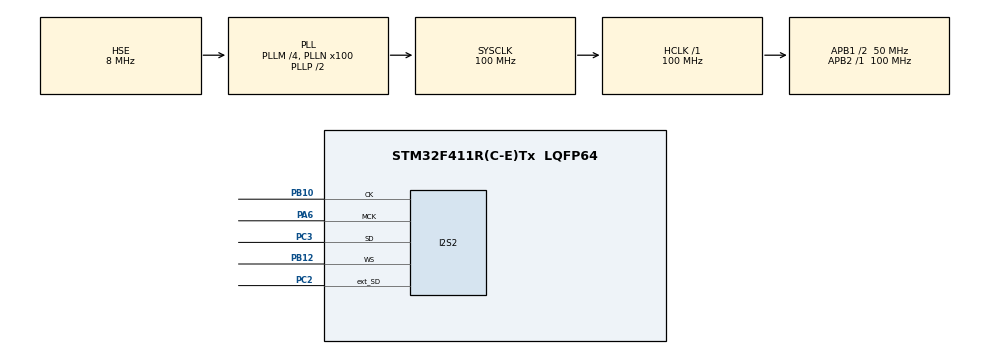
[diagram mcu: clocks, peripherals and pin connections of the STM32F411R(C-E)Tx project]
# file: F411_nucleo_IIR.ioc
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Dma.I2S2_EXT_RX.0.Direction=DMA_PERIPH_TO_MEMORY
Dma.I2S2_EXT_RX.0.FIFOMode=DMA_FIFOMODE_DISABLE
Dma.I2S2_EXT_RX.0.Instance=DMA1_Stream3
Dma.I2S2_EXT_RX.0.MemDataAlignment=DMA_MDATAALIGN_HALFWORD
Dma.I2S2_EXT_RX.0.MemInc=DMA_MINC_ENABLE
Dma.I2S2_EXT_RX.0.Mode=DMA_CIRCULAR
Dma.I2S2_EXT_RX.0.PeriphDataAlignment=DMA_PDATAALIGN_HALFWORD
Dma.I2S2_EXT_RX.0.PeriphInc=DMA_PINC_DISABLE
Dma.I2S2_EXT_RX.0.Priority=DMA_PRIORITY_LOW
Dma.Request0=I2S2_EXT_RX
Dma.Request1=SPI2_TX
Dma.SPI2_TX.1.Direction=DMA_MEMORY_TO_PERIPH
Dma.SPI2_TX.1.FIFOMode=DMA_FIFOMODE_DISABLE
Dma.SPI2_TX.1.Instance=DMA1_Stream4
Dma.SPI2_TX.1.MemDataAlignment=DMA_MDATAALIGN_HALFWORD
Dma.SPI2_TX.1.MemInc=DMA_MINC_ENABLE
Dma.SPI2_TX.1.Mode=DMA_CIRCULAR
Dma.SPI2_TX.1.PeriphDataAlignment=DMA_PDATAALIGN_HALFWORD
Dma.SPI2_TX.1.PeriphInc=DMA_PINC_DISABLE
Dma.SPI2_TX.1.Priority=DMA_PRIORITY_LOW
I2S2.AudioFreq=I2S_AUDIOFREQ_96K
I2S2.DataFormat=I2S_DATAFORMAT_24B
I2S2.ErrorAudioFreq=-2.34 %
I2S2.FullDuplexMode=I2S_FULLDUPLEXMODE_ENABLE
I2S2.Instance=SPI$Index
I2S2.RealAudioFreq=93.75 KHz
I2S2.VirtualMode=I2S_MODE_MASTER
Mcu.Family=STM32F4
Mcu.Name=STM32F411R(C-E)Tx
Mcu.Package=LQFP64
NVIC.DMA1_Stream3_IRQn=true\:0\:0\:false\:false\:true\:false\:true
NVIC.DMA1_Stream4_IRQn=true\:0\:0\:false\:false\:true\:false\:true
NVIC.PriorityGroup=NVIC_PRIORITYGROUP_0
PA6.GPIO_PuPd=GPIO_NOPULL
PA6.GPIO_Speed=GPIO_SPEED_FREQ_VERY_HIGH
PA6.Mode=Master_Clock_Activated
PA6.Signal=I2S2_MCK
PB10.Mode=Full_Duplex_Master
PB10.Signal=I2S2_CK
PB12.Mode=Full_Duplex_Master
PB12.Signal=I2S2_WS
PC2.Mode=Full_Duplex_Master
PC2.Signal=I2S2_ext_SD
PC3.Mode=Full_Duplex_Master
PC3.Signal=I2S2_SD
PH0\ -\ OSC_IN.Mode=HSE-External-Oscillator
PH0\ -\ OSC_IN.Signal=RCC_OSC_IN
PH1\ -\ OSC_OUT.Mode=HSE-External-Oscillator
PH1\ -\ OSC_OUT.Signal=RCC_OSC_OUT
ProjectManager.HeapSize=0x200
ProjectManager.StackSize=0x400
ProjectManager.TargetToolchain=STM32CubeIDE
RCC.48MHZClocksFreq_Value=50000000
RCC.AHBFreq_Value=100000000
RCC.APB1CLKDivider=RCC_HCLK_DIV2
RCC.APB1Freq_Value=50000000
RCC.APB1TimFreq_Value=100000000
RCC.APB2Freq_Value=100000000
RCC.APB2TimFreq_Value=100000000
RCC.CortexFreq_Value=100000000
RCC.FLatency-AdvancedSettings=FLASH_LATENCY_3
RCC.HCLKFreq_Value=100000000
RCC.HSE_VALUE=8000000
RCC.HSI_VALUE=16000000
RCC.LSE_VALUE=32768
RCC.PLLI2SM=8
RCC.PLLM=4
RCC.PLLN=100
RCC.PLLSourceVirtual=RCC_PLLSOURCE_HSE
RCC.SYSCLKFreq_VALUE=100000000
RCC.SYSCLKSource=RCC_SYSCLKSOURCE_PLLCLK
RCC.VCOOutputFreq_Value=200000000
board=NUCLEO-F411RE

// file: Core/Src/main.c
/* USER CODE BEGIN Header */
/**
 ******************************************************************************
 * @file           : main.c
 * @brief          : Main program body
 ******************************************************************************
 * @attention
 *
 * Copyright (c) 2022 STMicroelectronics.
 * All rights reserved.
 *
 * This software is licensed under terms that can be found in the LICENSE file
 * in the root directory of this software component.
 * If no LICENSE file comes with this software, it is provided AS-IS.
 *
 ******************************************************************************
 */
/* USER CODE END Header */
#include "main.h"

/* USER CODE BEGIN Includes */
#include "arm_math.h"
#include "iir_coeffs.h"
/* USER CODE END Includes */

/* USER CODE BEGIN PD */
#define BLOCK_SIZE_FLOAT 	512
#define BLOCK_SIZE_U16 		2048
#define NUMSTAGES			1
/* USER CODE END PD */

I2S_HandleTypeDef hi2s2;
DMA_HandleTypeDef hdma_i2s2_ext_rx;
DMA_HandleTypeDef hdma_spi2_tx;

/* USER CODE BEGIN PV */

/* -------------------------------------------------------------------
 * filter instances
 * ------------------------------------------------------------------- */

arm_biquad_casd_df1_inst_f32 EQ_HP;
arm_biquad_casd_df1_inst_f32 EQ_LP;
arm_biquad_casd_df1_inst_f32 EQ_1;
arm_biquad_casd_df1_inst_f32 EQ_2;
arm_biquad_casd_df1_inst_f32 EQ_3;
arm_biquad_casd_df1_inst_f32 EQ_4;
arm_biquad_casd_df1_inst_f32 EQ_5;

/* -------------------------------------------------------------------
 * state buffers for all bands, 4 delayed samples per biquad
 * ------------------------------------------------------------------- */
static float eq_hp_state[4];
static float eq_lp_state[4];
static float eq_1_state[4];
static float eq_2_state[4];
static float eq_3_state[4];
static float eq_4_state[4];
static float eq_5_state[4];

/* -------------------------------------------------------------------
 * input and output buffers
 * ------------------------------------------------------------------- */
uint16_t rxBuf[BLOCK_SIZE_U16 * 2];
uint16_t txBuf[BLOCK_SIZE_U16 * 2];
float l_buf_in[BLOCK_SIZE_FLOAT * 2];
float r_buf_in[BLOCK_SIZE_FLOAT * 2];
float l_buf_out[BLOCK_SIZE_FLOAT * 2];
float r_buf_out[BLOCK_SIZE_FLOAT * 2];
float mono_buf[BLOCK_SIZE_FLOAT * 2];

uint8_t callback_state = 0;

int offset_r_ptr, offset_w_ptr;
int w_ptr;

/* USER CODE END PV */

void SystemClock_Config(void);
static void MX_GPIO_Init(void);
static void MX_DMA_Init(void);
static void MX_I2S2_Init(void);

int main(void) {

	/* MCU Configuration--------------------------------------------------------*/

	/* Reset of all peripherals, Initializes the Flash interface and the Systick. */
	HAL_Init();

	/* Configure the system clock */
	SystemClock_Config();

	/* Initialize all configured peripherals */
	MX_GPIO_Init();
	MX_DMA_Init();
	MX_I2S2_Init();
	/* USER CODE BEGIN 2 */

	/* init IIR structure */
	arm_biquad_cascade_df1_init_f32(&EQ_HP, NUMSTAGES, &eq_coeff_hp[0], &eq_hp_state[0]); 	// HP
	arm_biquad_cascade_df1_init_f32(&EQ_LP, NUMSTAGES, &eq_coeff_lp[0], &eq_lp_state[0]);	// LP
	arm_biquad_cascade_df1_init_f32(&EQ_1, NUMSTAGES, &eq_coeff_1[0], &eq_1_state[0]);		// PK1
	arm_biquad_cascade_df1_init_f32(&EQ_2, NUMSTAGES, &eq_coeff_2[0], &eq_2_state[0]);		// PK2
	arm_biquad_cascade_df1_init_f32(&EQ_3, NUMSTAGES, &eq_coeff_3[0], &eq_3_state[0]);		// PK3
	arm_biquad_cascade_df1_init_f32(&EQ_4, NUMSTAGES, &eq_coeff_4[0], &eq_4_state[0]);		// PK4
	arm_biquad_cascade_df1_init_f32(&EQ_5, NUMSTAGES, &eq_coeff_5[0], &eq_5_state[0]);		// PK5

	/* start i2s with 2048 samples transmission => 4096*u16 words */
	HAL_I2SEx_TransmitReceive_DMA(&hi2s2, txBuf, rxBuf, BLOCK_SIZE_U16);

	/* USER CODE END 2 */

	/* Infinite loop */
	/* USER CODE BEGIN WHILE */
//	int l_sample[BLOCK_SIZE_FLOAT * 2];
//	int r_sample[BLOCK_SIZE_FLOAT * 2];

	while (1) {
		if (callback_state != 0) {

			/* decide if it was half or cplt callback */
			if (callback_state == 1) {
				offset_r_ptr = 0;
				offset_w_ptr = 0;
				w_ptr = 0;
			} else if (callback_state == 2) {
				offset_r_ptr = BLOCK_SIZE_U16;
				offset_w_ptr = BLOCK_SIZE_FLOAT;
				w_ptr = BLOCK_SIZE_FLOAT;
			}

//			/* restore signed 24 bit sample from 16-bit buffers */
//			for (int i = offset_r_ptr; i < offset_r_ptr + BLOCK_SIZE_U16; i = i + 4) {
//				l_sample[w_ptr] = (int) (rxBuf[i] << 16) | rxBuf[i + 1];
//				r_sample[w_ptr] = (int) (rxBuf[i + 2] << 16) | rxBuf[i + 3];
//			}
//
//			/* -3dB before summing */
//			for (int i = offset_r_ptr; i < offset_r_ptr + BLOCK_SIZE_U16; i = i + 4) {
//				l_sample[w_ptr] = l_sample[w_ptr] >> 1;
//				r_sample[w_ptr] = r_sample[w_ptr] >> 1;
//				w_ptr++;
//			}
//
//			/* sum to mono */
//			for (int i = offset_r_ptr; i < offset_r_ptr + BLOCK_SIZE_U16; i = i + 4) {
//				mono_buf[w_ptr] = l_sample[w_ptr] + r_sample[w_ptr];
//				w_ptr++;
//			}

			/* restore input (signed 24 bit??) sample buffer to float array */
			for (int i = offset_r_ptr; i < offset_r_ptr + BLOCK_SIZE_U16; i = i + 4) {
				l_buf_in[w_ptr] = (float) ((int) (rxBuf[i] << 16) | rxBuf[i + 1]);
				r_buf_in[w_ptr] = (float) ((int) (rxBuf[i + 2] << 16) | rxBuf[i + 3]);
				w_ptr++;
			}

			/* process IIR */
			arm_biquad_cascade_df1_f32(&EQ_HP, &l_buf_in[offset_w_ptr], &l_buf_out[offset_w_ptr], BLOCK_SIZE_FLOAT);
			arm_biquad_cascade_df1_f32(&EQ_LP, &r_buf_in[offset_w_ptr], &r_buf_out[offset_w_ptr], BLOCK_SIZE_FLOAT);

//			arm_biquad_cascade_df1_f32(&EQ_1, &l_buf_out[offset_w_ptr], &l_buf_out[offset_w_ptr], BLOCK_SIZE_FLOAT);
//			arm_biquad_cascade_df1_f32(&EQ_2, &l_buf_out[offset_w_ptr], &l_buf_out[offset_w_ptr], BLOCK_SIZE_FLOAT);
			arm_biquad_cascade_df1_f32(&EQ_3, &l_buf_out[offset_w_ptr], &l_buf_out[offset_w_ptr], BLOCK_SIZE_FLOAT);
			arm_biquad_cascade_df1_f32(&EQ_4, &l_buf_out[offset_w_ptr], &l_buf_out[offset_w_ptr], BLOCK_SIZE_FLOAT);
//			arm_biquad_cascade_df1_f32(&EQ_5, &l_buf_out[offset_w_ptr], &l_buf_out[offset_w_ptr], BLOCK_SIZE_FLOAT);

			arm_biquad_cascade_df1_f32(&EQ_1, &r_buf_out[offset_w_ptr], &r_buf_out[offset_w_ptr], BLOCK_SIZE_FLOAT);
			arm_biquad_cascade_df1_f32(&EQ_2, &r_buf_out[offset_w_ptr], &r_buf_out[offset_w_ptr], BLOCK_SIZE_FLOAT);
//			arm_biquad_cascade_df1_f32(&EQ_3, &r_buf_out[offset_w_ptr], &r_buf_out[offset_w_ptr], BLOCK_SIZE_FLOAT);
//			arm_biquad_cascade_df1_f32(&EQ_4, &r_buf_out[offset_w_ptr], &r_buf_out[offset_w_ptr], BLOCK_SIZE_FLOAT);
//			arm_biquad_cascade_df1_f32(&EQ_5, &r_buf_out[offset_w_ptr], &r_buf_out[offset_w_ptr], BLOCK_SIZE_FLOAT);

			/* restore processed float-array to output sample-buffer */
			w_ptr = offset_w_ptr;

			for (int i = offset_r_ptr; i < offset_r_ptr + BLOCK_SIZE_U16; i = i + 4) {
				txBuf[i] = (((int) l_buf_out[w_ptr]) >> 16) & 0xFFFF;
				txBuf[i + 1] = ((int) l_buf_out[w_ptr]) & 0xFFFF;
				txBuf[i + 2] = (((int) r_buf_out[w_ptr]) >> 16) & 0xFFFF;
				txBuf[i + 3] = ((int) r_buf_out[w_ptr]) & 0xFFFF;
				w_ptr++;
			}

			callback_state = 0;

		}
		/* USER CODE END WHILE */

	}
}

void SystemClock_Config(void) {
	RCC_OscInitTypeDef RCC_OscInitStruct = { 0 };
	RCC_ClkInitTypeDef RCC_ClkInitStruct = { 0 };

	/** Configure the main internal regulator output voltage
	 */
	__HAL_RCC_PWR_CLK_ENABLE();
	__HAL_PWR_VOLTAGESCALING_CONFIG(PWR_REGULATOR_VOLTAGE_SCALE1);
	/** Initializes the RCC Oscillators according to the specified parameters
	 * in the RCC_OscInitTypeDef structure.
	 */
	RCC_OscInitStruct.OscillatorType = RCC_OSCILLATORTYPE_HSE;
	RCC_OscInitStruct.HSEState = RCC_HSE_ON;
	RCC_OscInitStruct.PLL.PLLState = RCC_PLL_ON;
	RCC_OscInitStruct.PLL.PLLSource = RCC_PLLSOURCE_HSE;
	RCC_OscInitStruct.PLL.PLLM = 4;
	RCC_OscInitStruct.PLL.PLLN = 100;
	RCC_OscInitStruct.PLL.PLLP = RCC_PLLP_DIV2;
	RCC_OscInitStruct.PLL.PLLQ = 4;
	if (HAL_RCC_OscConfig(&RCC_OscInitStruct) != HAL_OK) {
		Error_Handler();
	}
	/** Initializes the CPU, AHB and APB buses clocks
	 */
	RCC_ClkInitStruct.ClockType = RCC_CLOCKTYPE_HCLK | RCC_CLOCKTYPE_SYSCLK
			| RCC_CLOCKTYPE_PCLK1 | RCC_CLOCKTYPE_PCLK2;
	RCC_ClkInitStruct.SYSCLKSource = RCC_SYSCLKSOURCE_PLLCLK;
	RCC_ClkInitStruct.AHBCLKDivider = RCC_SYSCLK_DIV1;
	RCC_ClkInitStruct.APB1CLKDivider = RCC_HCLK_DIV2;
	RCC_ClkInitStruct.APB2CLKDivider = RCC_HCLK_DIV1;

	if (HAL_RCC_ClockConfig(&RCC_ClkInitStruct, FLASH_LATENCY_3) != HAL_OK) {
		Error_Handler();
	}
}

static void MX_I2S2_Init(void) {

	hi2s2.Instance = SPI2;
	hi2s2.Init.Mode = I2S_MODE_MASTER_TX;
	hi2s2.Init.Standard = I2S_STANDARD_PHILIPS;
	hi2s2.Init.DataFormat = I2S_DATAFORMAT_24B;
	hi2s2.Init.MCLKOutput = I2S_MCLKOUTPUT_ENABLE;
	hi2s2.Init.AudioFreq = I2S_AUDIOFREQ_96K;
	hi2s2.Init.CPOL = I2S_CPOL_LOW;
	hi2s2.Init.ClockSource = I2S_CLOCK_PLL;
	hi2s2.Init.FullDuplexMode = I2S_FULLDUPLEXMODE_ENABLE;
	if (HAL_I2S_Init(&hi2s2) != HAL_OK) {
		Error_Handler();
	}

}

static void MX_DMA_Init(void) {

	/* DMA controller clock enable */
	__HAL_RCC_DMA1_CLK_ENABLE();

	/* DMA interrupt init */
	/* DMA1_Stream3_IRQn interrupt configuration */
	HAL_NVIC_SetPriority(DMA1_Stream3_IRQn, 0, 0);
	HAL_NVIC_EnableIRQ(DMA1_Stream3_IRQn);
	/* DMA1_Stream4_IRQn interrupt configuration */
	HAL_NVIC_SetPriority(DMA1_Stream4_IRQn, 0, 0);
	HAL_NVIC_EnableIRQ(DMA1_Stream4_IRQn);

}

static void MX_GPIO_Init(void) {

	/* GPIO Ports Clock Enable */
	__HAL_RCC_GPIOH_CLK_ENABLE();
	__HAL_RCC_GPIOC_CLK_ENABLE();
	__HAL_RCC_GPIOA_CLK_ENABLE();
	__HAL_RCC_GPIOB_CLK_ENABLE();

}

/* USER CODE BEGIN 4 */

void HAL_I2SEx_TxRxHalfCpltCallback(I2S_HandleTypeDef *hi2s) {
	callback_state = 1;

}

void HAL_I2SEx_TxRxCpltCallback(I2S_HandleTypeDef *hi2s) {
	callback_state = 2;
}

/* USER CODE END 4 */

void Error_Handler(void) {
	__disable_irq();
	while (1) {
	}
}
